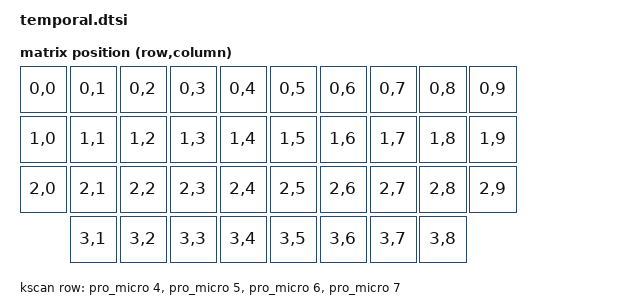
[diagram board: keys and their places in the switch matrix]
/*
 * Copyright (c) 2024 Curtis Bollinger
 *
 * SPDX-License-Identifier: MIT
 */

#include <dt-bindings/zmk/matrix_transform.h>

/ {
    chosen {
        zmk,kscan = &kscan;
        zmk,matrix-transform = &default_transform;
    };

    kscan: nice_nano_v2_kscan {
        compatible = "zmk,kscan-gpio-matrix";
        wakeup-source;

        diode-direction = "col2row";
        row-gpios
            = <&pro_micro 4 (GPIO_ACTIVE_HIGH | GPIO_PULL_DOWN)>  // row_top
            , <&pro_micro 5 (GPIO_ACTIVE_HIGH | GPIO_PULL_DOWN)>  // row_home
            , <&pro_micro 6 (GPIO_ACTIVE_HIGH | GPIO_PULL_DOWN)>  // row_bottom
            , <&pro_micro 7 (GPIO_ACTIVE_HIGH | GPIO_PULL_DOWN)>  // row_thumb
            ;
    };


    /*
     * Temporal keyboard matrix layout (38-key version)
     *
     * Notes:
     * - rows
     *   - 0 = top
     *   - 1 = home
     *   - 2 = bottom
     *   - 3 = thumb
     * - columns
     *   - 0, 9 = pinky
     *   - 1, 8 = ring
     *   - 2, 7 = middle
     *   - 3, 6 = index
     *   - 4, 5 = inner
     * - RC(3,1) and RC(3,8) can either be a switch or an encoder
     */
    default_transform: temporal_38_transform {
        compatible = "zmk,matrix-transform";
        columns = <12>;
        rows = <4>;
        map = <
            RC(0,0) RC(0,1) RC(0,2) RC(0,3) RC(0,4)     RC(0,5) RC(0,6) RC(0,7) RC(0,8) RC(0,9)
            RC(1,0) RC(1,1) RC(1,2) RC(1,3) RC(1,4)     RC(1,5) RC(1,6) RC(1,7) RC(1,8) RC(1,9)
            RC(2,0) RC(2,1) RC(2,2) RC(2,3) RC(2,4)     RC(2,5) RC(2,6) RC(2,7) RC(2,8) RC(2,9)
                    RC(3,1) RC(3,2) RC(3,3) RC(3,4)     RC(3,5) RC(3,6) RC(3,7) RC(3,8)
        >;
    };


    /*
     * Encoder configuration
     *
     *   - steps = 24 PPR x 4 quadrature transitions per pulse = 96
     *   - enable the left and right encoder in their respective overlay
     *   - define the pins in their peripheral overlay files
     */
    left_encoder: left_encoder {
        compatible = "alps,ec11";
        steps = <96>;
        status = "disabled";
    };

    right_encoder: right_encoder {
        compatible = "alps,ec11";
        steps = <96>;
        status = "disabled";
    };

    sensors: encoder_sensors {
        compatible = "zmk,keymap-sensors";
        sensors = <&left_encoder &right_encoder>;
        triggers-per-rotation = <24>;
    };
};
